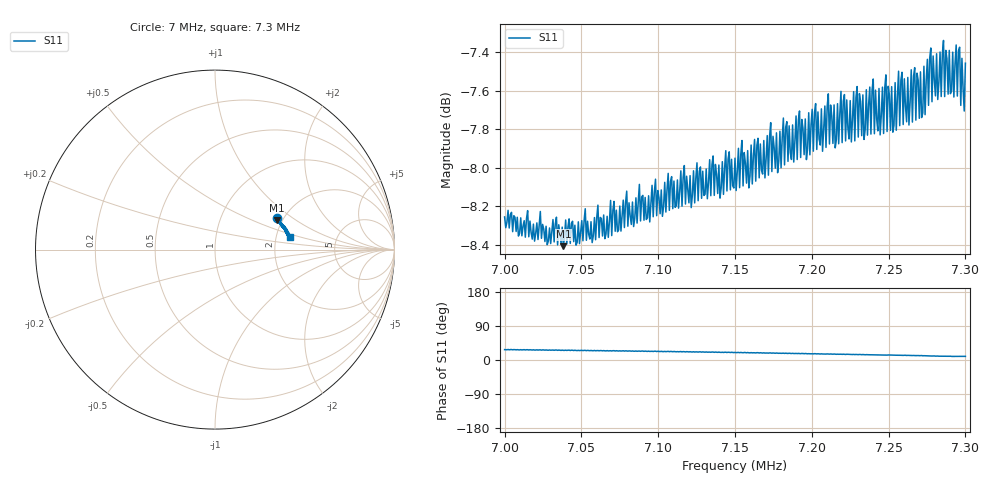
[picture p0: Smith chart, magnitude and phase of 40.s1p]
# Hz S RI R 50
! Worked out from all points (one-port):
!   401 points, 7 MHz to 7.3 MHz, reference 50 ohm
!   lowest |S11| = -8.4 dB at 7.0382 MHz (marker M1), VSWR 2.23, Z = 93.4 + j35.6 ohm
!   |S11| at or under -10 dB: nowhere
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7000000  0.3434 0.1777
7037500  0.3452 0.1688
7038250  0.3432 0.1631
7075000  0.3546 0.1601
7107250  0.3601 0.1449
7112500  0.3659 0.1494
7126000  0.3648 0.139
7141750  0.3744 0.1396
7144750  0.3694 0.1331
7150000  0.376 0.1375
7153000  0.3713 0.1301
7179250  0.387 0.1257
7182250  0.3805 0.1193
7187500  0.3893 0.1235
7190500  0.3828 0.1162
7206250  0.3958 0.1157
7211500  0.3891 0.1078
7214500  0.3977 0.1126
7219750  0.3904 0.1043
7225000  0.4004 0.1067
7230250  0.3932 0.0991
7235500  0.4045 0.1018
7238500  0.3947 0.0958
7254250  0.4084 0.0928
7257250  0.3988 0.0874
7262500  0.4106 0.0891
7286500  0.4092 0.0711
7300000  0.4178 0.0707
